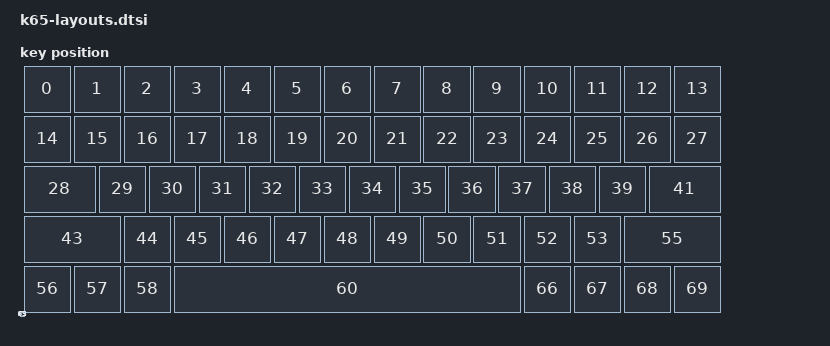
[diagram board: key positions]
#include <physical_layouts.dtsi>

/ {
    physical_layout0: physical_layout_0 {
        compatible = "zmk,physical-layout";
        display-name = "Default";

        kscan = <&kscan0>;
        transform = <&matrix_transform0>;

        keys  //                     w   h    x    y     rot    rx    ry
            = <&key_physical_attrs 100 100    0    0       0     0     0>
            , <&key_physical_attrs 100 100  100    0       0     0     0>
            , <&key_physical_attrs 100 100  200    0       0     0     0>
            , <&key_physical_attrs 100 100  300    0       0     0     0>
            , <&key_physical_attrs 100 100  400    0       0     0     0>
            , <&key_physical_attrs 100 100  500    0       0     0     0>
            , <&key_physical_attrs 100 100  600    0       0     0     0>
            , <&key_physical_attrs 100 100  700    0       0     0     0>
            , <&key_physical_attrs 100 100  800    0       0     0     0>
            , <&key_physical_attrs 100 100  900    0       0     0     0>
            , <&key_physical_attrs 100 100 1000    0       0     0     0>
            , <&key_physical_attrs 100 100 1100    0       0     0     0>
            , <&key_physical_attrs 100 100 1200    0       0     0     0>
            , <&key_physical_attrs 100 100 1300    0       0     0     0>
            , <&key_physical_attrs 100 100    0  100       0     0     0>
            , <&key_physical_attrs 100 100  100  100       0     0     0>
            , <&key_physical_attrs 100 100  200  100       0     0     0>
            , <&key_physical_attrs 100 100  300  100       0     0     0>
            , <&key_physical_attrs 100 100  400  100       0     0     0>
            , <&key_physical_attrs 100 100  500  100       0     0     0>
            , <&key_physical_attrs 100 100  600  100       0     0     0>
            , <&key_physical_attrs 100 100  700  100       0     0     0>
            , <&key_physical_attrs 100 100  800  100       0     0     0>
            , <&key_physical_attrs 100 100  900  100       0     0     0>
            , <&key_physical_attrs 100 100 1000  100       0     0     0>
            , <&key_physical_attrs 100 100 1100  100       0     0     0>
            , <&key_physical_attrs 100 100 1200  100       0     0     0>
            , <&key_physical_attrs 100 100 1300  100       0     0     0>
            , <&key_physical_attrs 150 100    0  200       0     0     0>
            , <&key_physical_attrs 100 100  150  200       0     0     0>
            , <&key_physical_attrs 100 100  250  200       0     0     0>
            , <&key_physical_attrs 100 100  350  200       0     0     0>
            , <&key_physical_attrs 100 100  450  200       0     0     0>
            , <&key_physical_attrs 100 100  550  200       0     0     0>
            , <&key_physical_attrs 100 100  650  200       0     0     0>
            , <&key_physical_attrs 100 100  750  200       0     0     0>
            , <&key_physical_attrs 100 100  850  200       0     0     0>
            , <&key_physical_attrs 100 100  950  200       0     0     0>
            , <&key_physical_attrs 100 100 1050  200       0     0     0>
            , <&key_physical_attrs 100 100 1150  200       0     0     0>
            , <&key_physical_attrs   0   0    0  500       0     0     0>
            , <&key_physical_attrs 150 100 1250  200       0     0     0>
            , <&key_physical_attrs   0   0    0  500       0     0     0>
            , <&key_physical_attrs 200 100    0  300       0     0     0>
            , <&key_physical_attrs 100 100  200  300       0     0     0>
            , <&key_physical_attrs 100 100  300  300       0     0     0>
            , <&key_physical_attrs 100 100  400  300       0     0     0>
            , <&key_physical_attrs 100 100  500  300       0     0     0>
            , <&key_physical_attrs 100 100  600  300       0     0     0>
            , <&key_physical_attrs 100 100  700  300       0     0     0>
            , <&key_physical_attrs 100 100  800  300       0     0     0>
            , <&key_physical_attrs 100 100  900  300       0     0     0>
            , <&key_physical_attrs 100 100 1000  300       0     0     0>
            , <&key_physical_attrs 100 100 1100  300       0     0     0>
            , <&key_physical_attrs   0   0    0  500       0     0     0>
            , <&key_physical_attrs 200 100 1200  300       0     0     0>
            , <&key_physical_attrs 100 100    0  400       0     0     0>
            , <&key_physical_attrs 100 100  100  400       0     0     0>
            , <&key_physical_attrs 100 100  200  400       0     0     0>
            , <&key_physical_attrs   0   0    0  500       0     0     0>
            , <&key_physical_attrs 700 100  300  400       0     0     0>
            , <&key_physical_attrs   0   0    0  500       0     0     0>
            , <&key_physical_attrs   0   0    0  500       0     0     0>
            , <&key_physical_attrs   0   0    0  500       0     0     0>
            , <&key_physical_attrs   0   0    0  500       0     0     0>
            , <&key_physical_attrs   0   0    0  500       0     0     0>
            , <&key_physical_attrs 100 100 1000  400       0     0     0>
            , <&key_physical_attrs 100 100 1100  400       0     0     0>
            , <&key_physical_attrs 100 100 1200  400       0     0     0>
            , <&key_physical_attrs 100 100 1300  400       0     0     0>
            ;
    };
};
